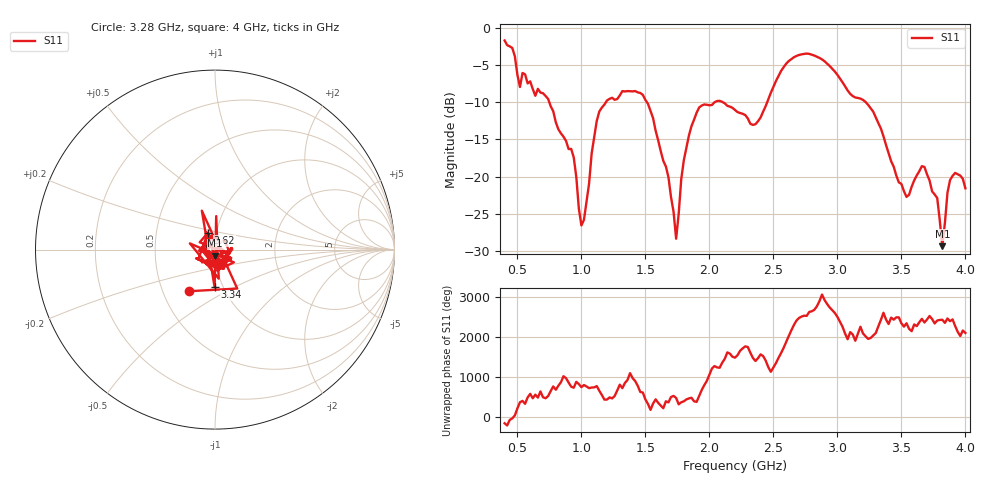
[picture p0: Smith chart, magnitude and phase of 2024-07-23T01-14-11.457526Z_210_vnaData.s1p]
!Created with skrf (http://scikit-rf.org).
# Hz S RI R 50.0
!freq ReS11 ImS11
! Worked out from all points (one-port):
!   181 points, 400 MHz to 4 GHz, reference 50 ohm
!   lowest |S11| = -29.4 dB at 3.82 GHz (marker M1), VSWR 1.07, Z = 50 - j3.41 ohm
!   |S11| at or under -10 dB: 749.2 MHz to 1.191 GHz (441.8 MHz wide, 45.5 % of centre); 1.512 GHz to 2.04 GHz (527.2 MHz wide, 29.7 % of centre); 3.223 GHz to end of sweep (the widest 3 of 4)
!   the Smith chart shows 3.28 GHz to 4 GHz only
!   S11 on the Smith chart (normalised r, x): 3.28 GHz: 0.68, -0.34; 3.34 GHz: 0.91, -0.40; 3.62 GHz: 0.91, +0.17; 4 GHz: 1.08, -0.15
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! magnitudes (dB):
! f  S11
! 400 MHz  -1.7
! 520 MHz  -7.9
! 720 MHz  -9.1
! 860 MHz  -14.6
! 940 MHz  -17.4
! 1 GHz  -26.6
! 1.14 GHz  -11.2
! 1.3 GHz  -9.1
! 1.52 GHz  -10.2
! 1.68 GHz  -20.1
! 1.74 GHz  -28.4
! 1.76 GHz  -25.0
! 1.8 GHz  -17.8
! 1.92 GHz  -10.7
! 2.2 GHz  -11.0
! 2.36 GHz  -13.0
! 2.66 GHz  -3.9
! 2.88 GHz  -4.2
! 3.1 GHz  -8.9
! 3.28 GHz  -11.3
! 3.34 GHz  -13.5
! 3.56 GHz  -22.4
! 3.62 GHz  -19.8
! 3.68 GHz  -18.7
! 3.78 GHz  -22.9
! 3.82 GHz  -29.4
! 3.88 GHz  -20.5
! 4 GHz  -21.6
